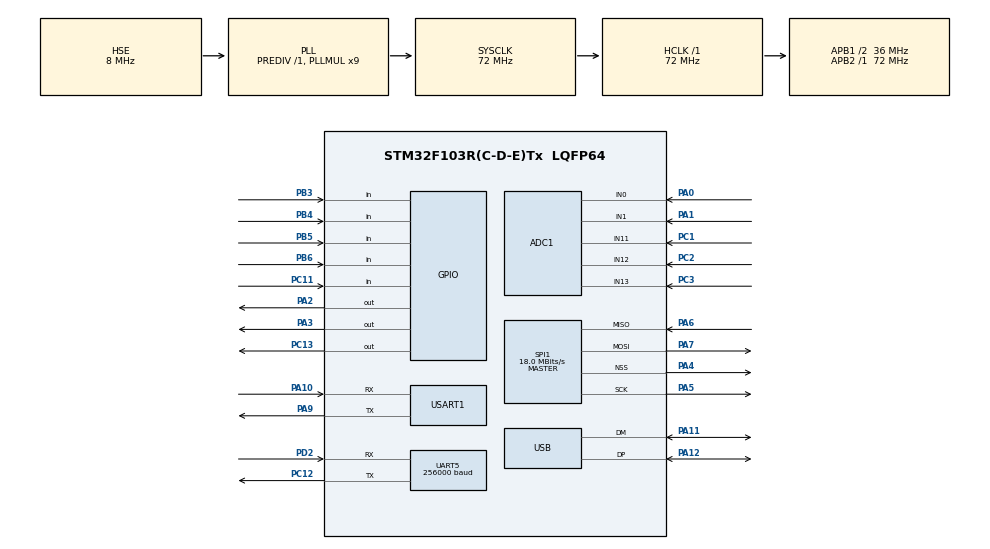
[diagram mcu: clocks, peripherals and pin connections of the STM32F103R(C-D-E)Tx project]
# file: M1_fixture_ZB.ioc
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ADC1.Channel-0\#ChannelRegularConversion=ADC_CHANNEL_0
ADC1.Channel-1\#ChannelRegularConversion=ADC_CHANNEL_1
ADC1.Channel-2\#ChannelRegularConversion=ADC_CHANNEL_11
ADC1.Channel-3\#ChannelRegularConversion=ADC_CHANNEL_12
ADC1.Channel-4\#ChannelRegularConversion=ADC_CHANNEL_13
ADC1.ContinuousConvMode=ENABLE
ADC1.NbrOfConversion=5
ADC1.NbrOfConversionFlag=1
ADC1.Rank-0\#ChannelRegularConversion=1
ADC1.Rank-1\#ChannelRegularConversion=2
ADC1.Rank-2\#ChannelRegularConversion=3
ADC1.Rank-3\#ChannelRegularConversion=4
ADC1.Rank-4\#ChannelRegularConversion=5
ADC1.SamplingTime-0\#ChannelRegularConversion=ADC_SAMPLETIME_239CYCLES_5
ADC1.SamplingTime-1\#ChannelRegularConversion=ADC_SAMPLETIME_239CYCLES_5
ADC1.SamplingTime-2\#ChannelRegularConversion=ADC_SAMPLETIME_239CYCLES_5
ADC1.SamplingTime-3\#ChannelRegularConversion=ADC_SAMPLETIME_239CYCLES_5
ADC1.SamplingTime-4\#ChannelRegularConversion=ADC_SAMPLETIME_239CYCLES_5
ADC1.master=1
Dma.ADC1.2.Direction=DMA_PERIPH_TO_MEMORY
Dma.ADC1.2.Instance=DMA1_Channel1
Dma.ADC1.2.MemDataAlignment=DMA_MDATAALIGN_HALFWORD
Dma.ADC1.2.MemInc=DMA_MINC_ENABLE
Dma.ADC1.2.Mode=DMA_NORMAL
Dma.ADC1.2.PeriphDataAlignment=DMA_PDATAALIGN_HALFWORD
Dma.ADC1.2.PeriphInc=DMA_PINC_DISABLE
Dma.ADC1.2.Priority=DMA_PRIORITY_LOW
Dma.Request0=USART1_TX
Dma.Request1=USART1_RX
Dma.Request2=ADC1
Dma.USART1_RX.1.Direction=DMA_PERIPH_TO_MEMORY
Dma.USART1_RX.1.Instance=DMA1_Channel5
Dma.USART1_RX.1.MemDataAlignment=DMA_MDATAALIGN_BYTE
Dma.USART1_RX.1.MemInc=DMA_MINC_ENABLE
Dma.USART1_RX.1.Mode=DMA_CIRCULAR
Dma.USART1_RX.1.PeriphDataAlignment=DMA_PDATAALIGN_BYTE
Dma.USART1_RX.1.PeriphInc=DMA_PINC_DISABLE
Dma.USART1_RX.1.Priority=DMA_PRIORITY_LOW
Dma.USART1_TX.0.Direction=DMA_MEMORY_TO_PERIPH
Dma.USART1_TX.0.Instance=DMA1_Channel4
Dma.USART1_TX.0.MemDataAlignment=DMA_MDATAALIGN_BYTE
Dma.USART1_TX.0.MemInc=DMA_MINC_ENABLE
Dma.USART1_TX.0.Mode=DMA_NORMAL
Dma.USART1_TX.0.PeriphDataAlignment=DMA_PDATAALIGN_BYTE
Dma.USART1_TX.0.PeriphInc=DMA_PINC_DISABLE
Dma.USART1_TX.0.Priority=DMA_PRIORITY_LOW
Mcu.Family=STM32F1
Mcu.Name=STM32F103R(C-D-E)Tx
Mcu.Package=LQFP64
NVIC.ADC1_2_IRQn=true\:0\:0\:false\:false\:true\:true\:true\:true
NVIC.DMA1_Channel1_IRQn=true\:0\:0\:false\:false\:true\:false\:true\:true
NVIC.DMA1_Channel4_IRQn=true\:0\:0\:false\:false\:true\:false\:true\:true
NVIC.DMA1_Channel5_IRQn=true\:0\:0\:false\:false\:true\:false\:true\:true
NVIC.PriorityGroup=NVIC_PRIORITYGROUP_4
NVIC.UART5_IRQn=true\:0\:0\:false\:false\:true\:true\:true\:true
NVIC.USART1_IRQn=true\:0\:0\:false\:false\:true\:true\:true\:true
NVIC.USB_LP_CAN1_RX0_IRQn=true\:0\:0\:false\:false\:true\:false\:true\:true
PA0-WKUP.Signal=ADCx_IN0
PA1.Signal=ADCx_IN1
PA10.Mode=Asynchronous
PA10.Signal=USART1_RX
PA11.Mode=Device
PA11.Signal=USB_DM
PA12.Mode=Device
PA12.Signal=USB_DP
PA2.PinState=GPIO_PIN_SET
PA2.Signal=GPIO_Output
PA3.PinState=GPIO_PIN_SET
PA3.Signal=GPIO_Output
PA4.Mode=NSS_Signal_Hard_Output
PA4.Signal=SPI1_NSS
PA5.Mode=Full_Duplex_Master
PA5.Signal=SPI1_SCK
PA6.Mode=Full_Duplex_Master
PA6.Signal=SPI1_MISO
PA7.Mode=Full_Duplex_Master
PA7.Signal=SPI1_MOSI
PA9.Mode=Asynchronous
PA9.Signal=USART1_TX
PB3.Signal=GPIO_Input
PB4.Signal=GPIO_Input
PB5.Signal=GPIO_Input
PB6.Signal=GPIO_Input
PC1.Signal=ADCx_IN11
PC11.Signal=GPIO_Input
PC12.Mode=Asynchronous
PC12.Signal=UART5_TX
PC13-TAMPER-RTC.PinState=GPIO_PIN_SET
PC13-TAMPER-RTC.Signal=GPIO_Output
PC2.Signal=ADCx_IN12
PC3.Signal=ADCx_IN13
PD0-OSC_IN.Mode=HSE-External-Oscillator
PD0-OSC_IN.Signal=RCC_OSC_IN
PD1-OSC_OUT.Mode=HSE-External-Oscillator
PD1-OSC_OUT.Signal=RCC_OSC_OUT
PD2.Mode=Asynchronous
PD2.Signal=UART5_RX
ProjectManager.HeapSize=0x800
ProjectManager.StackSize=0x400
ProjectManager.TargetToolchain=MDK-ARM V5.32
RCC.ADCPresc=RCC_ADCPCLK2_DIV6
RCC.AHBFreq_Value=72000000
RCC.APB1CLKDivider=RCC_HCLK_DIV2
RCC.APB1Freq_Value=36000000
RCC.APB1TimFreq_Value=72000000
RCC.APB2Freq_Value=72000000
RCC.APB2TimFreq_Value=72000000
RCC.HCLKFreq_Value=72000000
RCC.PLLMUL=RCC_PLL_MUL9
RCC.SYSCLKFreq_VALUE=72000000
RCC.SYSCLKSource=RCC_SYSCLKSOURCE_PLLCLK
RCC.USBFreq_Value=48000000
RCC.USBPrescaler=RCC_USBCLKSOURCE_PLL_DIV1_5
SH.ADCx_IN0.0=ADC1_IN0,IN0
SH.ADCx_IN1.0=ADC1_IN1,IN1
SH.ADCx_IN11.0=ADC1_IN11,IN11
SH.ADCx_IN12.0=ADC1_IN12,IN12
SH.ADCx_IN13.0=ADC1_IN13,IN13
SPI1.BaudRatePrescaler=SPI_BAUDRATEPRESCALER_4
SPI1.CRCCalculation=SPI_CRCCALCULATION_DISABLE
SPI1.CalculateBaudRate=18.0 MBits/s
SPI1.Direction=SPI_DIRECTION_2LINES
SPI1.Mode=SPI_MODE_MASTER
SPI1.VirtualNSS=VM_NSSHARD
SPI1.VirtualType=VM_MASTER
UART5.BaudRate=256000
UART5.VirtualMode=Asynchronous
USART1.VirtualMode=VM_ASYNC
USB_DEVICE.CLASS_NAME_FS=CDC
USB_DEVICE.USBD_MAX_NUM_INTERFACES=2
USB_DEVICE.VirtualMode=Cdc
USB_DEVICE.VirtualModeFS=Cdc_FS
VP_SYS_VS_ND.Mode=No_Debug
VP_USB_DEVICE_VS_USB_DEVICE_CDC_FS.Mode=CDC_FS
board=custom

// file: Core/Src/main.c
/* USER CODE BEGIN Header */
/**
  ******************************************************************************
  * @file           : main.c
  * @brief          : Main program body
  ******************************************************************************
  * @attention
  *
  * Copyright (c) 2026 STMicroelectronics.
  * All rights reserved.
  *
  * This software is licensed under terms that can be found in the LICENSE file
  * in the root directory of this software component.
  * If no LICENSE file comes with this software, it is provided AS-IS.
  *
  ******************************************************************************
  */
/* USER CODE END Header */
#include "main.h"
#include "adc.h"
#include "dma.h"
#include "spi.h"
#include "usart.h"
#include "usb_device.h"
#include "gpio.h"

/* USER CODE BEGIN Includes */
#include "flash_mode.h"
#include "usart_m.h"
#include "cdc_transport.h"
#include "log.h"

#include "gd25q128.h"

#include "data_process.h"

#include "fx_adc.h"
#include "fx_bus.h"
#include "fx_input.h"
/* USER CODE END Includes */

void SystemClock_Config(void);

/* USER CODE BEGIN 0 */
/* ---------------- main loop subtask ---------------- */
void main_loop_1000ms(void)
{
  HAL_GPIO_TogglePin(GPIOC, GPIO_PIN_13);
}

void main_loop_2ms(void)
{
}

void main_loop_1ms(void)
{
  uart_rx_handle();
  pc_app_poll();

  fx_adc_poll();
  fx_input_poll();
  fx_bus_poll();
}

/* ---------------- main loop model ---------------- */
#define MAIN_LOOP_NUMS    3

typedef void (*task_func_t)(void);

typedef struct {
    uint32_t last_tick;
    uint32_t period;
    const uint32_t *period_var;   // if not NULL, use *period_var as period
    task_func_t task;
} task_t;

static task_t tasks[MAIN_LOOP_NUMS] = {0};

void main_loop_init(void)
{
  task_func_t task_funcs[MAIN_LOOP_NUMS] = {
    main_loop_1000ms,
    main_loop_2ms,
    main_loop_1ms,
  };
  uint32_t periods[MAIN_LOOP_NUMS] = {
    1000,
    2,
    1,
  };
  const uint32_t *period_vars[MAIN_LOOP_NUMS] = {
    NULL,
    NULL,
    NULL,
  };
  for (int i = 0; i < MAIN_LOOP_NUMS; i++) {
    tasks[i].period = periods[i];
    tasks[i].period_var = period_vars[i];
    tasks[i].task = task_funcs[i];
  }
}

void main_loop(void)
{
  uint32_t tick_now = HAL_GetTick();

  for (int i = 0; i < MAIN_LOOP_NUMS; i++) {
    uint32_t period = tasks[i].period_var ? *tasks[i].period_var : tasks[i].period;
    if ((uint32_t)(tick_now - tasks[i].last_tick) >= period) {
      tasks[i].last_tick = tick_now;
      if (tasks[i].task) {
        tasks[i].task();
      }
    }
  }
}

/* ---------------- CDC datas test ---------------- */
#if 0
void CDC_FrameHandler(const uint8_t *data, uint16_t len)
{
  CDC_Transport_Send(data, len, true);
}
#endif
/* USER CODE END 0 */

int main(void)
{

  /* MCU Configuration--------------------------------------------------------*/

  /* Reset of all peripherals, Initializes the Flash interface and the Systick. */
  HAL_Init();

  /* Configure the system clock */
  SystemClock_Config();

  /* Initialize all configured peripherals */
  MX_GPIO_Init();
  MX_DMA_Init();
  MX_USB_DEVICE_Init();
  MX_USART1_UART_Init();
  MX_SPI1_Init();
  MX_UART5_Init();
  MX_ADC1_Init();
  /* USER CODE BEGIN 2 */
#if FLASH_MODE_UART5
  UART5_Init_UserCode();      /* UART5 = DUT bootloader 链路：开 RX 中断进环形缓�? */
#else
  /* SWD 模式：DUT SWD �? PD2/PC12（与 UART5 同脚）�?�这里主动释�? UART5�?
   * 避免 UART5 �? SWD 位翻转期间被噪声触发 RX 中断、干扰烧录时序�??
   * DeInit 会关 UART5 时钟�? NVIC；关中断做这几步，防�? ISR 正在访问
   * 已经关掉时钟�? UART5 寄存器�?? */
  {
    uint32_t primask = __get_PRIMASK();
    __disable_irq();
    (void)HAL_UART_DeInit(&huart5);
    HAL_NVIC_ClearPendingIRQ(UART5_IRQn);
    if (primask == 0u) {
      __enable_irq();
    }
  }
#endif
  CDC_Transport_Init();
  GD25Q_Init();
  main_loop_init();
  LOGI("*********** Program Start ***********");
  if (GD25Q_Test()) {
    LOGI("GD25Q Test ok");
  } else {
    LOGI("GD25Q Test Failed");
  }
  LOGI("GD25Q ID = 0x%x", GD25Q_ReadID());
  LOGI("GD25Q Err Count = %d", GD25Q_ErrCount());
  pc_app_init();

  fx_bus_init();
  fx_input_init();
  fx_adc_init();
  /* USER CODE END 2 */

  /* Infinite loop */
  /* USER CODE BEGIN WHILE */
  while (1)
  {
    main_loop();
    /* USER CODE END WHILE */

    /* USER CODE BEGIN 3 */
    CDC_Transport_Poll();
  }
  /* USER CODE END 3 */
}

void SystemClock_Config(void)
{
  RCC_OscInitTypeDef RCC_OscInitStruct = {0};
  RCC_ClkInitTypeDef RCC_ClkInitStruct = {0};
  RCC_PeriphCLKInitTypeDef PeriphClkInit = {0};

  /** Initializes the RCC Oscillators according to the specified parameters
  * in the RCC_OscInitTypeDef structure.
  */
  RCC_OscInitStruct.OscillatorType = RCC_OSCILLATORTYPE_HSE;
  RCC_OscInitStruct.HSEState = RCC_HSE_ON;
  RCC_OscInitStruct.HSEPredivValue = RCC_HSE_PREDIV_DIV1;
  RCC_OscInitStruct.HSIState = RCC_HSI_ON;
  RCC_OscInitStruct.PLL.PLLState = RCC_PLL_ON;
  RCC_OscInitStruct.PLL.PLLSource = RCC_PLLSOURCE_HSE;
  RCC_OscInitStruct.PLL.PLLMUL = RCC_PLL_MUL9;
  if (HAL_RCC_OscConfig(&RCC_OscInitStruct) != HAL_OK)
  {
    Error_Handler();
  }

  /** Initializes the CPU, AHB and APB buses clocks
  */
  RCC_ClkInitStruct.ClockType = RCC_CLOCKTYPE_HCLK|RCC_CLOCKTYPE_SYSCLK
                              |RCC_CLOCKTYPE_PCLK1|RCC_CLOCKTYPE_PCLK2;
  RCC_ClkInitStruct.SYSCLKSource = RCC_SYSCLKSOURCE_PLLCLK;
  RCC_ClkInitStruct.AHBCLKDivider = RCC_SYSCLK_DIV1;
  RCC_ClkInitStruct.APB1CLKDivider = RCC_HCLK_DIV2;
  RCC_ClkInitStruct.APB2CLKDivider = RCC_HCLK_DIV1;

  if (HAL_RCC_ClockConfig(&RCC_ClkInitStruct, FLASH_LATENCY_2) != HAL_OK)
  {
    Error_Handler();
  }
  PeriphClkInit.PeriphClockSelection = RCC_PERIPHCLK_ADC|RCC_PERIPHCLK_USB;
  PeriphClkInit.AdcClockSelection = RCC_ADCPCLK2_DIV6;
  PeriphClkInit.UsbClockSelection = RCC_USBCLKSOURCE_PLL_DIV1_5;
  if (HAL_RCCEx_PeriphCLKConfig(&PeriphClkInit) != HAL_OK)
  {
    Error_Handler();
  }
}

void Error_Handler(void)
{
  __disable_irq();
  while (1)
  {
  }
}
